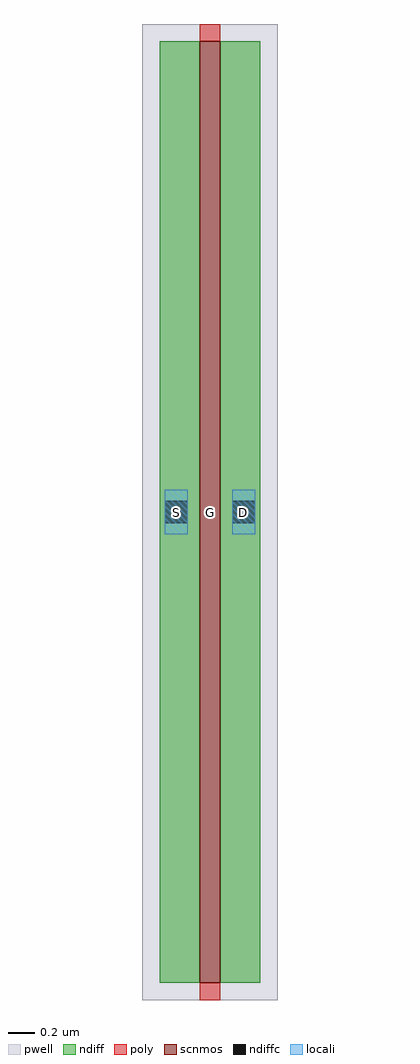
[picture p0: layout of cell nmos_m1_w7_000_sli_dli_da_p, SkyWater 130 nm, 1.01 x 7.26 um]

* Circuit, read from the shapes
.subckt nmos_m1_w7_000_sli_dli_da_p D G S
XM1 D G S VSUBS sky130_fd_pr__nfet_01v8 w=7 l=0.15
.ends

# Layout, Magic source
magic
tech sky130A
magscale 1 2
<< pwell >>
rect -26 -26 176 1426
<< scnmos >>
rect 60 0 90 1400
<< ndiff >>
rect 0 0 60 1400
rect 90 0 150 1400
<< poly >>
rect 60 1400 90 1426
rect 60 -26 90 0
<< locali >>
rect 8 667 42 733
rect 108 667 142 733
use contact_11  contact_11_0
transform 1 0 100 0 1 667
box -26 -22 76 88
use contact_11  contact_11_1
transform 1 0 0 0 1 667
box -26 -22 76 88
<< labels >>
rlabel poly s 75 700 75 700 4 G
rlabel locali s 25 700 25 700 4 S
rlabel locali s 125 700 125 700 4 D
<< properties >>
string FIXED_BBOX -25 -26 175 1426
<< end >>

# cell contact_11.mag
magic
tech sky130A
<< pwell >>
rect -13 -11 38 44
<< ndiff >>
rect 0 25 25 31
rect 0 8 4 25
rect 21 8 25 25
rect 0 2 25 8
<< ndiffc >>
rect 4 8 21 25
<< locali >>
rect 4 25 21 33
rect 4 0 21 8
<< properties >>
string FIXED_BBOX -12 -10 37 43
<< end >>
